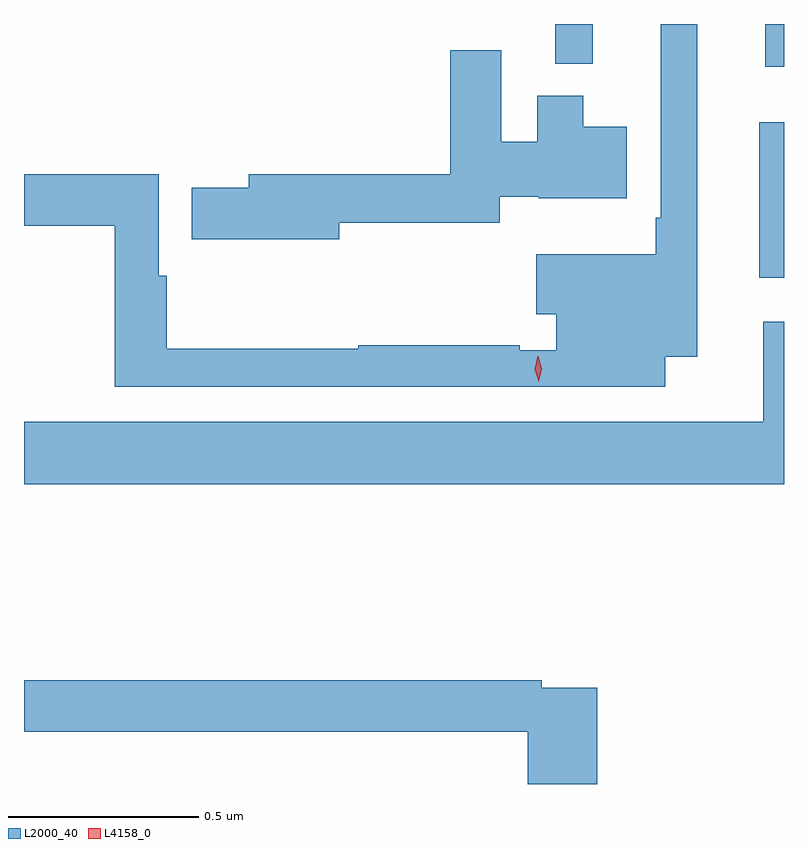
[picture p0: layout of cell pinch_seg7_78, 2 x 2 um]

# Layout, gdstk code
import gdstk
lib = gdstk.Library(unit=1e-6, precision=1e-09)
def R(c, l, rs):  # rectangles x0, y0, x1, y1
    for r in rs: c.add(gdstk.rectangle(r[:2], r[2:], *l))
def P(c, l, *ps):  # polygons
    for p in ps: c.add(gdstk.Polygon(p, *l))
L2000_40 = (2000, 40)
L4158_0 = (4158, 0)

pinch_seg7_78 = lib.new_cell('pinch_seg7_78')
R(pinch_seg7_78, L2000_40, [(996.665,1071.755,996.73,1072.165), (996.68,1072.311,996.73,1072.423), (996.128,1072.319,996.227,1072.423)])
P(pinch_seg7_78, L2000_40, [(996.418,1071.548),(996.502,1071.548),(996.502,1072.423),(996.405,1072.423),(996.405,1071.913),(996.393,1071.913),(996.393,1071.817),(996.078,1071.817),(996.078,1071.659),(996.131,1071.659),(996.131,1071.564),(996.035,1071.564),(996.035,1071.577),(995.609,1071.577),(995.609,1071.569),(995.105,1071.569),(995.105,1071.761),(995.085,1071.761),(995.085,1072.028),(994.73,1072.028),(994.73,1071.892),(994.969,1071.892),(994.969,1071.468),(996.418,1071.468)],
  [(995.56,1071.9),(995.982,1071.9),(995.982,1071.969),(996.084,1071.969),(996.084,1071.965),(996.316,1071.965),(996.316,1072.153),(996.202,1072.153),(996.202,1072.234),(996.08,1072.234),(996.08,1072.113),(995.986,1072.113),(995.986,1072.354),(995.852,1072.354),(995.852,1072.028),(995.321,1072.028),(995.321,1071.992),(995.172,1071.992),(995.172,1071.857),(995.56,1071.857)],
  [(996.73,1071.64),(996.676,1071.64),(996.676,1071.376),(994.73,1071.376),(994.73,1071.212),(996.73,1071.212)],
  [(996.239,1070.676),(996.092,1070.676),(996.092,1070.696),(994.73,1070.696),(994.73,1070.56),(996.056,1070.56),(996.056,1070.423),(996.239,1070.423)])
P(pinch_seg7_78, L4158_0, [(996.084,1071.482),(996.084,1071.483),(996.074,1071.515),(996.082,1071.549),(996.082,1071.549),(996.083,1071.549),(996.093,1071.516),(996.085,1071.483)])

lib.write_gds('pinch_seg7_78.gds')
